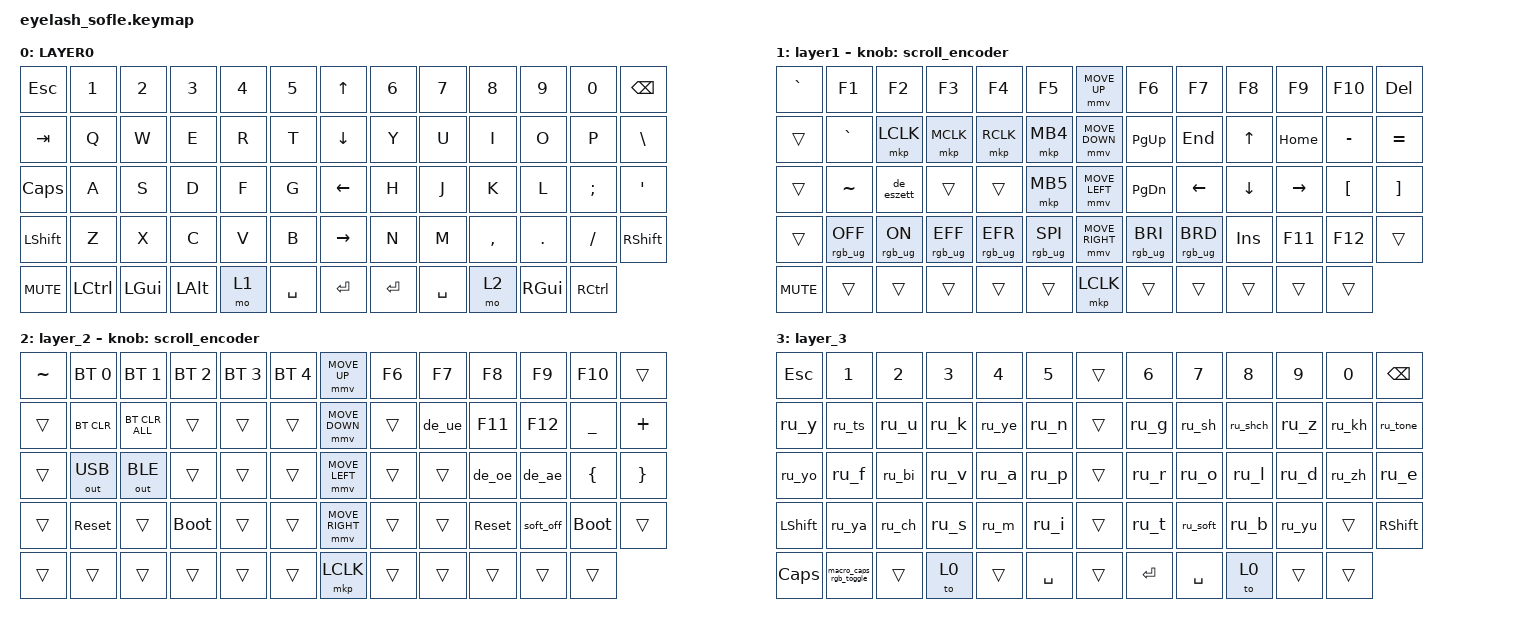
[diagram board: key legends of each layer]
#define ZMK_POINTING_DEFAULT_MOVE_VAL 1200  // 600
#define ZMK_POINTING_DEFAULT_SCRL_VAL 25   // 10

#include <input/processors.dtsi>
#include <zephyr/dt-bindings/input/input-event-codes.h>

#define ZMK_HELPER_KEEP_NATIVE 1
#define HOST_OS 2


#include <behaviors.dtsi>
#include <dt-bindings/zmk/bt.h>
#include <dt-bindings/zmk/keys.h>
#include <dt-bindings/zmk/outputs.h>
#include <dt-bindings/zmk/pointing.h>
#include <dt-bindings/zmk/rgb.h>
#include "zmk-helpers/helper.h"
#include "zmk-helpers/unicode-chars/german.dtsi"
#include "zmk-helpers/unicode-chars/russian.dtsi"

&mmv_input_listener { input-processors = <&zip_xy_scaler 2 1>; };

&msc_input_listener { input-processors = <&zip_scroll_scaler 2 1>; };

&msc {
    acceleration-exponent = <1>;      // 0
    time-to-max-speed-ms = <100>;       // 300
    delay-ms = <0>;                   // 0
};

&mmv {
    time-to-max-speed-ms = <500>;
    acceleration-exponent = <1>;
    trigger-period-ms = <16>;
};

/ {
    scroll_encoder: scroll_encoder {
        compatible = "zmk,behavior-sensor-rotate";
        #sensor-binding-cells = <0>;
        bindings = <&msc SCRL_DOWN>, <&msc SCRL_UP>;

        tap-ms = <100>;
    };

    behaviors {
    };

    combos {
        compatible = "zmk,combos";

        combo_to_l3 {
            timeout-ms = <500>;
            bindings = <&to 3>;
            key-positions = <55 61>;
        };

        combo_to_l0 {
            bindings = <&to 0>;
            key-positions = <56 60>;
        };
    };

    macros {
        macro_caps_rgb_toggle: macro_rgb_toggle {
            compatible = "zmk,behavior-macro";
            #binding-cells = <0>;
            tap-ms = <180>;
            bindings = <&rgb_ug RGB_TOG>
                       ,<&kp CAPS>;
            label = "MACRO_RGB_TOGGLE";
        };
    };

    keymap {
        compatible = "zmk,keymap";

        layer0 {
            bindings = <
&kp ESC                 &kp N1     &kp N2        &kp N3        &kp N4  &kp N5       &kp UP_ARROW     &kp N6     &kp N7     &kp N8     &kp N9         &kp N0             &kp BACKSPACE
&kp TAB                 &kp Q      &kp W         &kp E         &kp R   &kp T        &kp DOWN_ARROW   &kp Y      &kp U      &kp I      &kp O          &kp P              &kp BSLH
&kp CAPS                &kp A      &kp S         &kp D         &kp F   &kp G        &kp LEFT_ARROW   &kp H      &kp J      &kp K      &kp L          &kp SEMI           &kp APOS
&kp LSHFT               &kp Z      &kp X         &kp C         &kp V   &kp B        &kp RIGHT_ARROW  &kp N      &kp M      &kp COMMA  &kp DOT        &kp FSLH           &kp RIGHT_SHIFT
&kp C_MUTE              &kp LCTRL  &kp LEFT_GUI  &kp LEFT_ALT  &mo 1   &kp SPACE    &kp ENTER        &kp ENTER  &kp SPACE  &mo 2      &kp RIGHT_GUI  &kp RIGHT_CONTROL
            >;

            display-name = "LAYER0";
        };

        layer_1 {
            bindings = <
&kp GRAVE   &kp F1           &kp F2          &kp F3           &kp F4           &kp F5             &mmv MOVE_UP     &kp F6           &kp F7           &kp F8      &kp F9     &kp F10           &kp DELETE
&trans      &kp GRAVE        &mkp LCLK       &mkp MCLK        &mkp RCLK        &mkp MB4           &mmv MOVE_DOWN   &kp PG_UP        &kp END          &kp UP      &kp HOME   &kp MINUS         &kp EQUAL
&trans      &kp TILDE        &de_eszett      &trans           &trans           &mkp MB5           &mmv MOVE_LEFT   &kp PG_DN        &kp LEFT         &kp DOWN    &kp RIGHT  &kp LEFT_BRACKET  &kp RIGHT_BRACKET
&trans      &rgb_ug RGB_OFF  &rgb_ug RGB_ON  &rgb_ug RGB_EFF  &rgb_ug RGB_EFR  &rgb_ug RGB_SPI    &mmv MOVE_RIGHT  &rgb_ug RGB_BRI  &rgb_ug RGB_BRD  &kp INSERT  &kp F11    &kp F12           &trans
&kp C_MUTE  &trans           &trans          &trans           &trans           &trans             &mkp LCLK        &trans           &trans           &trans      &trans     &trans
            >;

            display-name = "layer1";
            sensor-bindings = <&scroll_encoder>;
        };

        layer_2 {
            bindings = <
&kp TILDE  &bt BT_SEL 0  &bt BT_SEL 1    &bt BT_SEL 2  &bt BT_SEL 3  &bt BT_SEL 4    &mmv MOVE_UP     &kp F6  &kp F7  &kp F8      &kp F9     &kp F10      &trans
&trans     &bt BT_CLR    &bt BT_CLR_ALL  &trans        &trans        &trans          &mmv MOVE_DOWN   &trans  &de_ue  &kp F11     &kp F12    &kp UNDER    &kp PLUS
&trans     &out OUT_USB  &out OUT_BLE    &trans        &trans        &trans          &mmv MOVE_LEFT   &trans  &trans  &de_oe      &de_ae     &kp LBRC     &kp RBRC
&trans     &sys_reset    &trans          &bootloader   &trans        &trans          &mmv MOVE_RIGHT  &trans  &trans  &sys_reset  &soft_off  &bootloader  &trans
&trans     &trans        &trans          &trans        &trans        &trans          &mkp LCLK        &trans  &trans  &trans      &trans     &trans
            >;

            sensor-bindings = <&scroll_encoder>;
        };

        layer_3 {
            bindings = <
&kp ESC    &kp N1                  &kp N2  &kp N3  &kp N4  &kp N5       &trans  &kp N6     &kp N7     &kp N8    &kp N9  &kp N0  &kp BACKSPACE
&ru_y      &ru_ts                  &ru_u   &ru_k   &ru_ye  &ru_n        &trans  &ru_g      &ru_sh     &ru_shch  &ru_z   &ru_kh  &ru_tone
&ru_yo     &ru_f                   &ru_bi  &ru_v   &ru_a   &ru_p        &trans  &ru_r      &ru_o      &ru_l     &ru_d   &ru_zh  &ru_e
&kp LSHFT  &ru_ya                  &ru_ch  &ru_s   &ru_m   &ru_i        &trans  &ru_t      &ru_soft   &ru_b     &ru_yu  &trans  &kp RSHFT
&kp CAPS   &macro_caps_rgb_toggle  &trans  &to 0   &trans  &kp SPACE    &trans  &kp ENTER  &kp SPACE  &to 0     &trans  &trans
            >;
        };
    };
};
